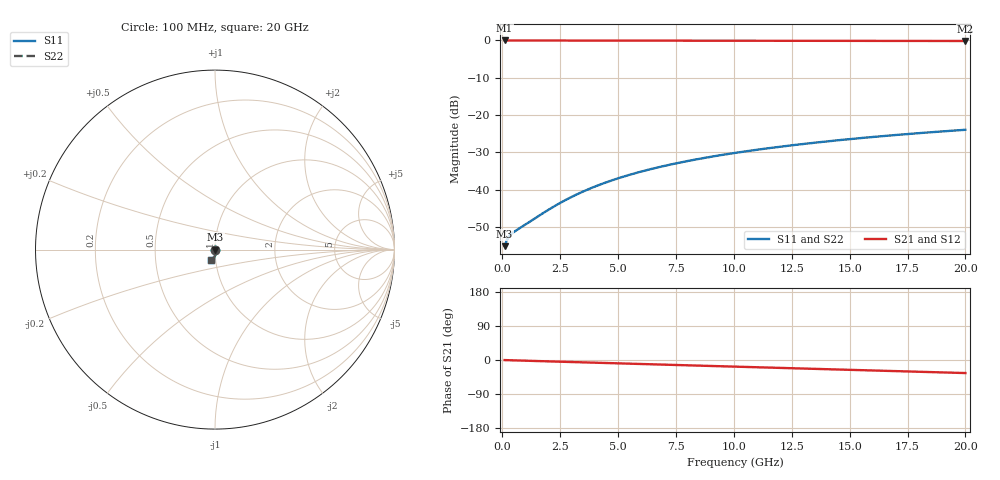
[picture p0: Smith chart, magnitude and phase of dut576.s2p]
! Touchstone file exported from HFSS 2026.1.0
!  File:  C:/ffzhzh/LocalFiles/Ansys_Project_Files/temp_train_TMRDL_576_1783008146_51716.aedt
!  Generated:  12:03:38 AM Jul  3, 2026
!  Design:  TMRDL
!  Project:  temp_train_TMRDL_576_1783008146_51716
! Variables:
!  h_bsmrdl = 2um
!  h_ox = 20um
!  h_rdl = 5um
!  h_sub = 80um
!  h_tmrdl = 5.74um
!  h_tsv = 80um
!  h_via = 3um
!  l_bsmrdl = 300um
!  l_sub = 1014.4um
!  l_tmrdl = 614.4um
!  m_sub = 200um
!  pitch = 32.54um
!  r_tsv = 6um
!  s_tmrdl = 10um
!  w_bsmrdl = 18um
!  w_sub = 500um
!  w_tmrdl = 27.89um
!  x_tsv_center1 = 628.345um
!  x_tsv_center2 = 946.345um
!  x_tsv_center3 = 1588.635um
!  x_tsv_center4 = 1906.635um
!  x_tsv_center5 = 2548.925um
!  x_tsv_center6 = 2866.925um
# GHz S MA R 50.000000
! Terminal data exported
! Port[1] = TM_RDL1_1_T1
! Port[2] = TM_RDL1_1_T2
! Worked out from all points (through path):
!   200 points, 100 MHz to 20 GHz, reference 50 ohm
!   highest |S21| = -0.01 dB at 100 MHz (marker M1); lowest = -0.2 dB at 20 GHz (marker M2)
!   group delay of S21, straight-line fit = 4.76 ps
!   lowest |S11| = -55.2 dB at 100 MHz (marker M3), VSWR 1.00, Z = 50.2 + j0.0326 ohm
!   |S11| at or under -10 dB: start of sweep to end of sweep
!   |S22| runs from -55.2 to -24.0 dB; largest |S21 - S12| = 4.3e-15
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0.1  0.001742 10.7  0.9983 -0.2  0.9983 -0.2  0.001742 10.8
! Gamma 0 0 0 0
! Port Impedance 50 0 50 0
0.2  0.002112 9.0  0.9979 -0.4  0.9979 -0.4  0.002112 9.0
0.3  0.002374 3.5  0.9976 -0.6  0.9976 -0.6  0.002372 3.4
0.4  0.002556 -2.1  0.9974 -0.8  0.9974 -0.8  0.002553 -2.1
0.5  0.002702 -7.1  0.9973 -0.9  0.9973 -0.9  0.002699 -7.2
1.7  0.0047 -40.2  0.9962 -3.1  0.9962 -3.1  0.004692 -40.2
2.2  0.005855 -47.0  0.9957 -4.0  0.9957 -4.0  0.005845 -47.0
2.8  0.007426 -53.1  0.995 -5.0  0.995 -5.0  0.007413 -53.2
3.5  0.009443 -58.7  0.9942 -6.3  0.9942 -6.3  0.009427 -58.8
4.2  0.01159 -63.3  0.9934 -7.5  0.9934 -7.5  0.01157 -63.4
5  0.01415 -67.8  0.9926 -8.9  0.9926 -8.9  0.01413 -68.0
5.9  0.0171 -72.2  0.9918 -10.4  0.9918 -10.4  0.01707 -72.4
6.8  0.0201 -76.0  0.991 -12.0  0.991 -12.0  0.02006 -76.2
7.5  0.02244 -78.7  0.9904 -13.2  0.9904 -13.2  0.02239 -78.9
8.3  0.02512 -81.5  0.9898 -14.5  0.9898 -14.5  0.02507 -81.8
9.2  0.02815 -84.4  0.9892 -16.1  0.9892 -16.1  0.02809 -84.7
10.1  0.03117 -87.1  0.9885 -17.6  0.9885 -17.6  0.0311 -87.4
11.7  0.03653 -91.5  0.9874 -20.3  0.9874 -20.3  0.03645 -91.9
13.4  0.04219 -95.8  0.9862 -23.2  0.9862 -23.2  0.04208 -96.2
15  0.04745 -99.6  0.9852 -26.0  0.9852 -26.0  0.04733 -100.0
16.7  0.05296 -103.4  0.984 -28.9  0.984 -28.9  0.05282 -103.8
20  0.06331 -110.3  0.9818 -34.5  0.9818 -34.5  0.06312 -110.9
